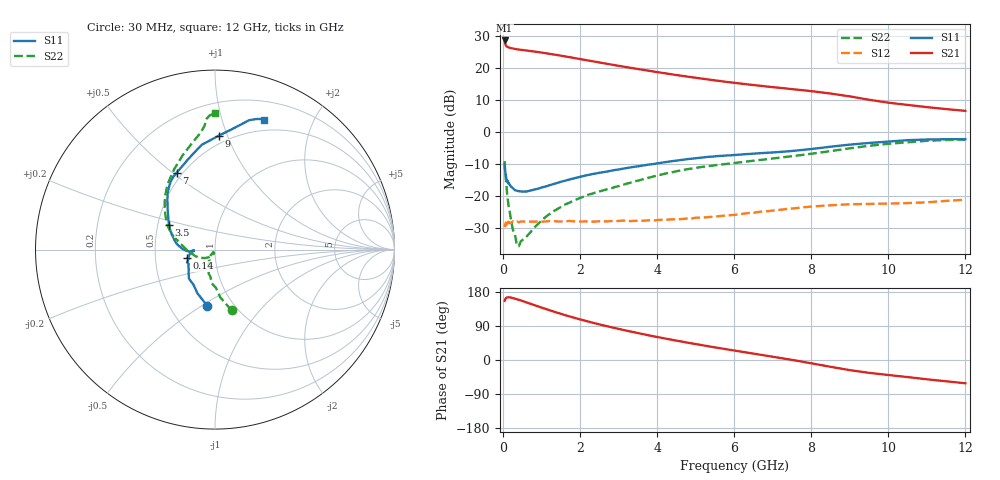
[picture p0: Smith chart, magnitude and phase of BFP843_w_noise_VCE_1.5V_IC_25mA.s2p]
! Infineon Technologies  Discrete & RF Semiconductors
! BFP843
! VCE =  1.5 V,  IC =  25 mA
! Common Emitter S-Parameters:  Aug 2013
# GHz  S  MA  R  50
!  f  S11  S21  S12  S22
! GHz  MAG  ANG  MAG  ANG  MAG  ANG  MAG  ANG
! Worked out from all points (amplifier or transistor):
!   103 points, 30 MHz to 12 GHz, reference 50 ohm
!   highest |S21| = 28.6 dB at 30 MHz (marker M1)
!   |S21| within 3 dB of that: start of sweep to 508.7 MHz
!   unconditionally stable (mu >= 1): 86.1 MHz to 126.5 MHz; 131.4 MHz to 10.8 GHz
!   at 400 MHz: K = 1.03, MAG = 25.9 dB, |S12| = -28.2 dB
!   at 3.7 GHz: K = 1.36, MAG = 19.9 dB, |S12| = -27.7 dB
!   at 12 GHz: K = 0.87, MSG = 13.9 dB, |S12| = -21.2 dB
!   lowest NFmin = 1.12 dB at 450 MHz
!   S11 on the Smith chart (normalised r, x): 30 MHz: 0.76, -0.53; 140 MHz: 0.73, -0.07; 3.5 GHz: 0.57, +0.17; 7 GHz: 0.47, +0.52; 9 GHz: 0.44, +0.93; 12 GHz: 0.38, +1.38
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0.03  0.315 -98.0  26.98 156.2  0.0334 25.4  0.3513 -74.7
0.04  0.2625 -111.9  24.72 158.3  0.0344 20.6  0.2674 -83.8
0.05  0.2295 -121.5  23.55 161.4  0.0336 24.8  0.2134 -88.5
0.07  0.1965 -138.4  22.14 163.7  0.0374 10.2  0.1523 -99.7
0.1  0.1669 -151.6  21.43 165.3  0.0365 7.9  0.0995 -111.1
0.14  0.1611 -163.2  20.96 165.4  0.038 8.7  0.0637 -118.5
0.2  0.1392 -172.4  20.41 164.6  0.0383 8.6  0.0407 -126.7
0.35  0.1206 -178.6  19.64 160.3  0.0398 4.8  0.0167 -124.6
0.8  0.1256 -174.5  18.11 144.9  0.0396 4.1  0.032 -111.4
1.2  0.1473 -175.7  16.67 131.2  0.0406 2.2  0.0523 -128.0
1.6  0.173 -179.9  15.21 118.5  0.04 3.0  0.0735 -139.5
2.1  0.2063 173.3  13.44 104.2  0.0399 3.1  0.0983 -154.1
2.7  0.2414 164.1  11.61 88.9  0.04 3.8  0.1273 -168.6
3.5  0.2908 151.5  9.64 70.9  0.0409 6.0  0.1738 175.3
4.1  0.3301 142.5  8.448 58.7  0.0424 7.5  0.2157 165.9
5  0.3888 133.0  7.034 41.9  0.0457 9.9  0.2744 156.8
6.1  0.4411 125.0  5.776 23.3  0.0514 12.2  0.3329 145.8
7  0.4787 116.3  5.023 8.5  0.0592 10.3  0.3857 136.6
8.5  0.5886 97.2  3.989 -18.0  0.0715 1.6  0.5026 116.9
9  0.6351 88.1  3.601 -26.8  0.0742 -2.5  0.5558 108.9
10.5  0.745 75.3  2.649 -45.1  0.0773 -9.2  0.6905 94.9
12  0.7727 69.3  2.14 -61.4  0.0875 -15.8  0.7613 89.8
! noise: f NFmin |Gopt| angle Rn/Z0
0.45  1.12  0.15  -173  0.07
0.9  1.12  0.15  -165  0.1
1.5  1.14  0.16  -158  0.19
1.9  1.16  0.16  -147  0.24
2.4  1.18  0.16  -135  0.31
3.5  1.22  0.17  -119  0.36
5.5  1.33  0.29  -107  0.47
10  1.9  0.53  -59  0.64
